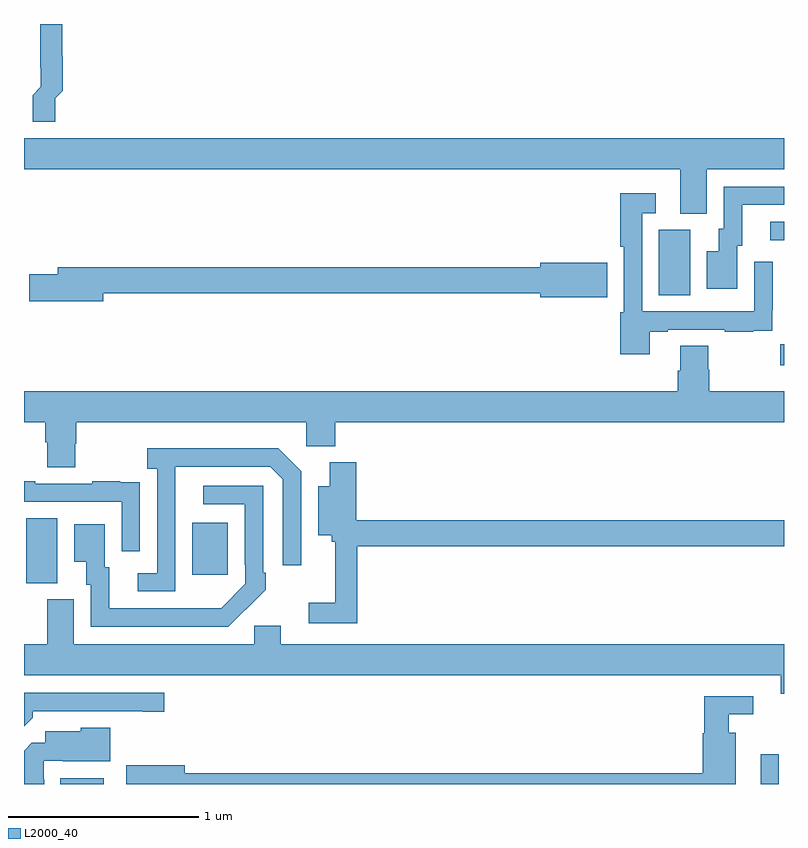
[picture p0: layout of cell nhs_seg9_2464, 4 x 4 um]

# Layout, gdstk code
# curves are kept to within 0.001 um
import gdstk
lib = gdstk.Library(unit=1e-6, precision=1e-09)
def R(c, l, rs):  # rectangles x0, y0, x1, y1
    for r in rs: c.add(gdstk.rectangle(r[:2], r[2:], *l))
def P(c, l, *ps):  # polygons
    for p in ps: c.add(gdstk.Polygon(p, *l))
L2000_40 = (2000, 40)

nhs_seg9_2464 = lib.new_cell('nhs_seg9_2464')
R(nhs_seg9_2464, L2000_40, [(251.192,1210.5,251.419,1210.531), (254.877,1210.5,254.973,1210.657), (251.012,1211.557,251.176,1211.9), (251.885,1211.601,252.073,1211.875), (254.979,1212.704,255,1212.814), (254.342,1213.072,254.506,1213.416), (254.928,1213.362,255,1213.458)])
P(nhs_seg9_2464, L2000_40, [(251.165,1214.109),(251.204,1214.148),(251.204,1214.33),(251.201,1214.33),(251.201,1214.5),(251.085,1214.5),(251.085,1214.269),(251.088,1214.269),(251.088,1214.169),(251.045,1214.126),(251.045,1213.986),(251.165,1213.986)],
  [(254.593,1213.736),(255,1213.736),(255,1213.9),(251,1213.9),(251,1213.736),(254.453,1213.736),(254.453,1213.501),(254.593,1213.501)],
  [(254.755,1213.332),(254.779,1213.332),(254.779,1213.548),(255,1213.548),(255,1213.644),(254.682,1213.644),(254.682,1213.422),(254.657,1213.422),(254.657,1213.303),(254.594,1213.303),(254.594,1213.107),(254.755,1213.107)],
  [(254.293,1212.879),(254.389,1212.879),(254.389,1212.891),(254.689,1212.891),(254.689,1212.879),(254.837,1212.879),(254.837,1212.885),(254.939,1212.885),(254.939,1212.994),(254.94,1212.994),(254.94,1213.249),(254.844,1213.249),(254.844,1212.987),(254.253,1212.987),(254.253,1213.503),(254.326,1213.503),(254.326,1213.609),(254.137,1213.609),(254.137,1213.327),(254.157,1213.327),(254.157,1212.984),(254.137,1212.984),(254.137,1212.762),(254.293,1212.762)],
  [(251.416,1213.084),(253.718,1213.084),(253.718,1213.061),(254.071,1213.061),(254.071,1213.244),(253.718,1213.244),(253.718,1213.22),(251.177,1213.22),(251.177,1213.184),(251.028,1213.184),(251.028,1213.042),(251.416,1213.042)],
  [(251.271,1212.291),(251.276,1212.291),(251.276,1212.404),(252.486,1212.404),(252.486,1212.278),(252.638,1212.278),(252.638,1212.404),(255,1212.404),(255,1212.568),(254.606,1212.568),(254.606,1212.681),(254.601,1212.681),(254.601,1212.806),(254.453,1212.806),(254.453,1212.674),(254.441,1212.674),(254.441,1212.568),(251,1212.568),(251,1212.404),(251.111,1212.404),(251.111,1212.298),(251.123,1212.298),(251.123,1212.166),(251.271,1212.166)],
  [(251.796,1211.971),(251.797,1212.171),(252.297,1212.171),(252.363,1212.105),(252.363,1211.652),(252.459,1211.652),(252.459,1212.147),(252.338,1212.268),(251.649,1212.268),(251.649,1212.158),(251.7,1212.158),(251.7,1211.61),(251.598,1211.61),(251.598,1211.514),(251.796,1211.514)],
  [(252.755,1211.752),(255,1211.752),(255,1211.888),(252.749,1211.888),(252.749,1212.193),(252.608,1212.193),(252.608,1212.067),(252.548,1212.067),(252.548,1211.81),(252.62,1211.81),(252.62,1211.775),(252.638,1211.775),(252.638,1211.455),(252.498,1211.455),(252.498,1211.346),(252.755,1211.346)],
  [(251.61,1211.978),(251.609,1211.978),(251.609,1212.087),(251.507,1212.087),(251.507,1212.094),(251.359,1212.094),(251.359,1212.081),(251.059,1212.081),(251.059,1212.094),(251,1212.094),(251,1211.985),(251.514,1211.985),(251.514,1211.724),(251.61,1211.724)],
  [(252.167,1211.419),(252.168,1211.418),(252.273,1211.523),(252.273,1211.611),(252.258,1211.611),(252.258,1212.069),(251.943,1212.069),(251.943,1211.973),(252.162,1211.973),(252.162,1211.653),(252.165,1211.653),(252.165,1211.553),(252.037,1211.425),(251.449,1211.424),(251.449,1211.64),(251.425,1211.64),(251.425,1211.866),(251.264,1211.866),(251.264,1211.669),(251.327,1211.669),(251.327,1211.55),(251.352,1211.55),(251.352,1211.328),(252.076,1211.328)],
  [(255,1211.236),(252.352,1211.236),(252.352,1211.334),(252.213,1211.334),(252.213,1211.236),(251.263,1211.236),(251.263,1211.472),(251.123,1211.472),(251.123,1211.236),(251,1211.236),(251,1211.072),(254.984,1211.072),(254.984,1210.974),(255,1210.974)],
  [(251.045,1210.85),(251.045,1210.884),(251.624,1210.884),(251.624,1210.879),(251.737,1210.879),(251.737,1210.98),(251,1210.98),(251,1210.805)],
  [(254.746,1210.771),(254.71,1210.771),(254.71,1210.866),(254.839,1210.866),(254.839,1210.962),(254.581,1210.962),(254.581,1210.767),(254.573,1210.767),(254.573,1210.556),(251.845,1210.556),(251.845,1210.6),(251.538,1210.6),(251.538,1210.5),(254.746,1210.5)],
  [(251.107,1210.523),(251.103,1210.523),(251.103,1210.623),(251.203,1210.623),(251.203,1210.619),(251.455,1210.619),(251.455,1210.795),(251.298,1210.795),(251.298,1210.777),(251.111,1210.777),(251.111,1210.716),(251.04,1210.716),(251,1210.676),(251,1210.5),(251.107,1210.5)])

lib.write_gds('nhs_seg9_2464.gds')
